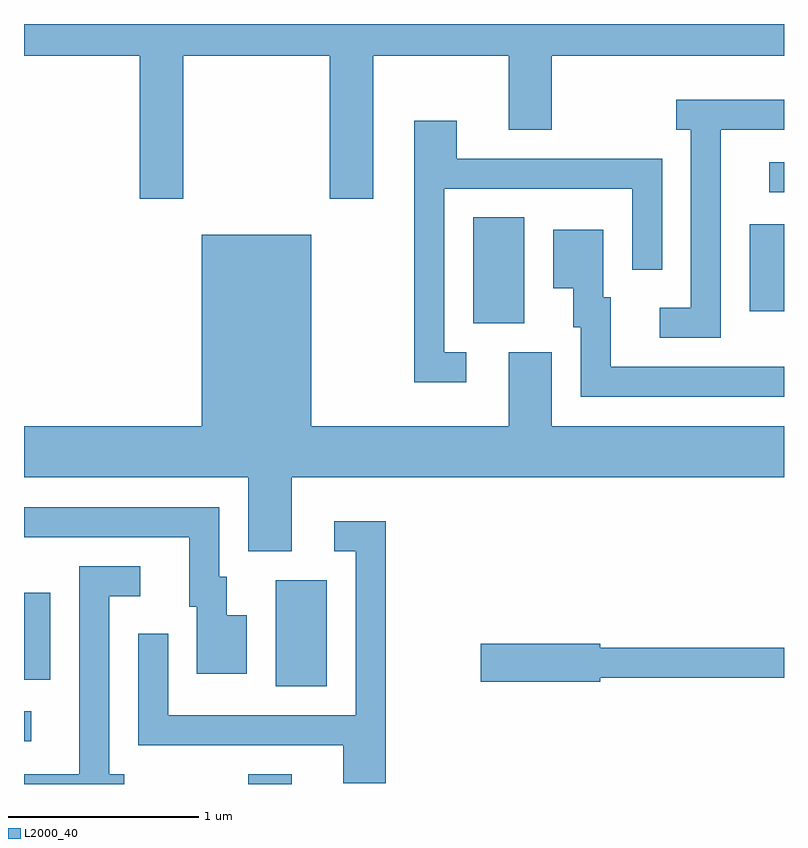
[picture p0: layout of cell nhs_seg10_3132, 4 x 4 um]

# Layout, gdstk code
import gdstk
lib = gdstk.Library(unit=1e-6, precision=1e-09)
def R(c, l, rs):  # rectangles x0, y0, x1, y1
    for r in rs: c.add(gdstk.rectangle(r[:2], r[2:], *l))
def P(c, l, *ps):  # polygons
    for p in ps: c.add(gdstk.Polygon(p, *l))
L2000_40 = (2000, 40)

nhs_seg10_3132 = lib.new_cell('nhs_seg10_3132')
R(nhs_seg10_3132, L2000_40, [(278.791,2114.522,279.019,2114.574), (277.611,2114.746,277.648,2114.904), (278.936,2115.036,279.204,2115.594), (277.611,2115.071,277.749,2115.529), (279.976,2116.946,280.244,2117.504), (281.431,2117.011,281.611,2117.469), (281.533,2117.636,281.611,2117.794)])
P(nhs_seg10_3132, L2000_40, [(278.449,2118.356),(279.221,2118.356),(279.221,2117.601),(279.449,2117.601),(279.449,2118.356),(280.161,2118.356),(280.161,2117.966),(280.389,2117.966),(280.389,2118.356),(281.611,2118.356),(281.611,2118.522),(277.611,2118.522),(277.611,2118.356),(278.221,2118.356),(278.221,2117.601),(278.449,2117.601)],
  [(281.279,2117.966),(281.611,2117.966),(281.611,2118.124),(281.043,2118.124),(281.043,2117.966),(281.121,2117.966),(281.121,2117.029),(280.958,2117.029),(280.958,2116.871),(281.279,2116.871)],
  [(279.938,2116.794),(279.824,2116.794),(279.824,2117.656),(280.811,2117.656),(280.811,2117.228),(280.969,2117.228),(280.969,2117.814),(279.889,2117.814),(279.889,2118.014),(279.666,2118.014),(279.666,2116.636),(279.938,2116.636)],
  [(281.611,2116.719),(280.699,2116.719),(280.699,2117.084),(280.659,2117.084),(280.659,2117.439),(280.396,2117.439),(280.396,2117.131),(280.501,2117.131),(280.501,2116.926),(280.541,2116.926),(280.541,2116.561),(281.611,2116.561)],
  [(279.019,2116.136),(281.611,2116.136),(281.611,2116.404),(280.389,2116.404),(280.389,2116.794),(280.161,2116.794),(280.161,2116.404),(279.124,2116.404),(279.124,2117.414),(278.546,2117.414),(278.546,2116.404),(277.611,2116.404),(277.611,2116.136),(278.791,2116.136),(278.791,2115.746),(279.019,2115.746)],
  [(278.784,2115.409),(278.679,2115.409),(278.679,2115.614),(278.639,2115.614),(278.639,2115.979),(277.611,2115.979),(277.611,2115.821),(278.481,2115.821),(278.481,2115.456),(278.521,2115.456),(278.521,2115.101),(278.784,2115.101)],
  [(279.514,2115.904),(279.243,2115.904),(279.243,2115.746),(279.356,2115.746),(279.356,2114.884),(278.369,2114.884),(278.369,2115.313),(278.211,2115.313),(278.211,2114.726),(279.291,2114.726),(279.291,2114.526),(279.514,2114.526)],
  [(278.138,2114.574),(278.059,2114.574),(278.059,2115.511),(278.223,2115.511),(278.223,2115.669),(277.901,2115.669),(277.901,2114.574),(277.611,2114.574),(277.611,2114.522),(278.138,2114.522)],
  [(280.644,2115.081),(281.611,2115.081),(281.611,2115.239),(280.644,2115.239),(280.644,2115.259),(280.016,2115.259),(280.016,2115.061),(280.644,2115.061)])

lib.write_gds('nhs_seg10_3132.gds')
